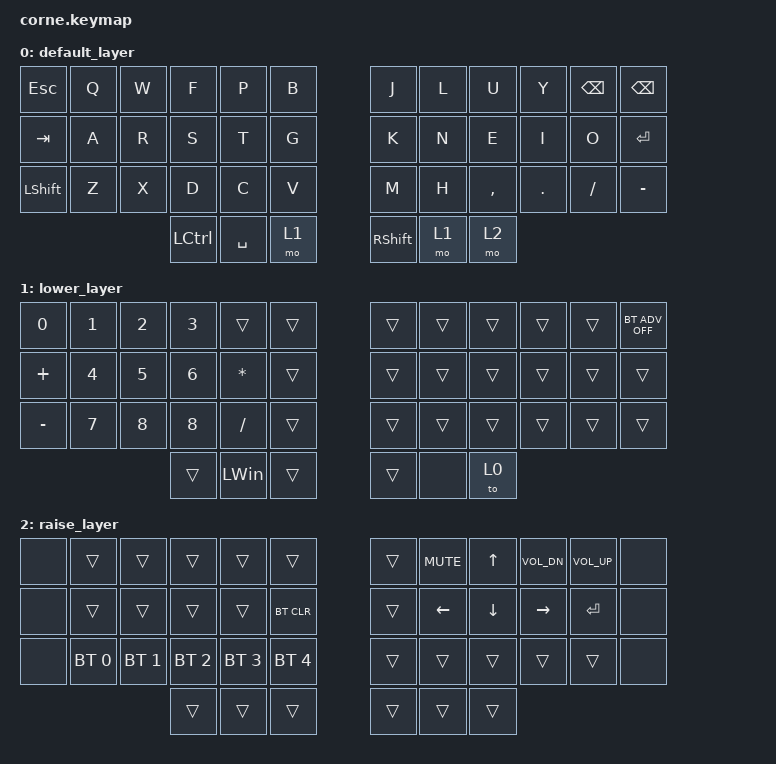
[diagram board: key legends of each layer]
/*
 * Copyright (c) 2020 The ZMK Contributors
 *
 * SPDX-License-Identifier: MIT
 */

#include <behaviors.dtsi>
#include <dt-bindings/zmk/bt.h>
#include <dt-bindings/zmk/keys.h>

/ {
    combos { compatible = "zmk,combos"; };

    keymap {
        compatible = "zmk,keymap";

        default_layer {
            // -----------------------------------------------------------------------------------------
            // |     |  Q  |  W  |  F  |  P  |  B  |            |  J  |  L  |  U  |  Y  | DEL |     |
            // |     |  A  |  R  |  S  |  T  |  G  |            |  K  |  N  |  E  |  I  |  O  |     |
            // |     |  Z  |  X  |  D  |  C  |  V  |            |  M  |  H  |  ,  |  .  |RCTRL|     |
            //                   | GUI | LWR | BSPC|            |RSHFT| SPC | RSE |

            bindings = <
&kp ESCAPE      &kp Q  &kp W  &kp F             &kp P      &kp B    &kp J       &kp L  &kp U      &kp Y    &kp BACKSPACE  &kp BACKSPACE
&kp TAB         &kp A  &kp R  &kp S             &kp T      &kp G    &kp K       &kp N  &kp E      &kp I    &kp O          &kp ENTER
&kp LEFT_SHIFT  &kp Z  &kp X  &kp D             &kp C      &kp V    &kp M       &kp H  &kp COMMA  &kp DOT  &kp SLASH      &kp MINUS
                              &kp LEFT_CONTROL  &kp SPACE  &mo 1    &kp RSHIFT  &mo 1  &mo 2
            >;
        };

        lower_layer {
            // -----------------------------------------------------------------------------------------
            // |      |     |  1  |  2  |  3  |  *  |            |     |     |     |     |     |      |
            // |      |  +  |  4  |  5  |  6  |  /  |            |     |     |     |     |     |      |
            // |      |  -  |  7  |  8  |  9  |  0  |            |     |     |     |     |     |      |
            //                    |     |     |     |            |     | LY3 |     |

            bindings = <
&kp N0     &kp NUMBER_1  &kp NUMBER_2  &kp NUMBER_3  &trans        &trans    &trans  &trans  &trans  &trans  &trans  &bt ADV_OFF
&kp PLUS   &kp NUMBER_4  &kp N5        &kp NUMBER_6  &kp ASTERISK  &trans    &trans  &trans  &trans  &trans  &trans  &trans
&kp MINUS  &kp N7        &kp N8        &kp N8        &kp SLASH     &trans    &trans  &trans  &trans  &trans  &trans  &trans
                                       &trans        &kp LEFT_WIN  &trans    &trans  &none   &to 0
            >;
        };

        raise_layer {
            // -----------------------------------------------------------------------------------------
            // |      |     |     |     |     |     |            |     |MUTE |  ↑  |VOLDN|VOLUP|      |
            // |      |     |     |     |     |BTCLR|            |     |  ←  |  ↓  |  →  |ENTER|      |
            // |      | BT1 | BT2 | BT3 | BT4 | BT5 |            |     |     |     |     |     |      |
            //                    |     | LY3 |     |            |     |     |     |

            bindings = <
&none  &trans        &trans        &trans        &trans        &trans          &trans  &kp C_MUTE  &kp UP    &kp C_VOL_DN  &kp C_VOL_UP  &none
&none  &trans        &trans        &trans        &trans        &bt BT_CLR      &trans  &kp LEFT    &kp DOWN  &kp RIGHT     &kp ENTER     &none
&none  &bt BT_SEL 0  &bt BT_SEL 1  &bt BT_SEL 2  &bt BT_SEL 3  &bt BT_SEL 4    &trans  &trans      &trans    &trans        &trans        &none
                                   &trans        &trans        &trans          &trans  &trans      &trans
            >;
        };
    };
};
